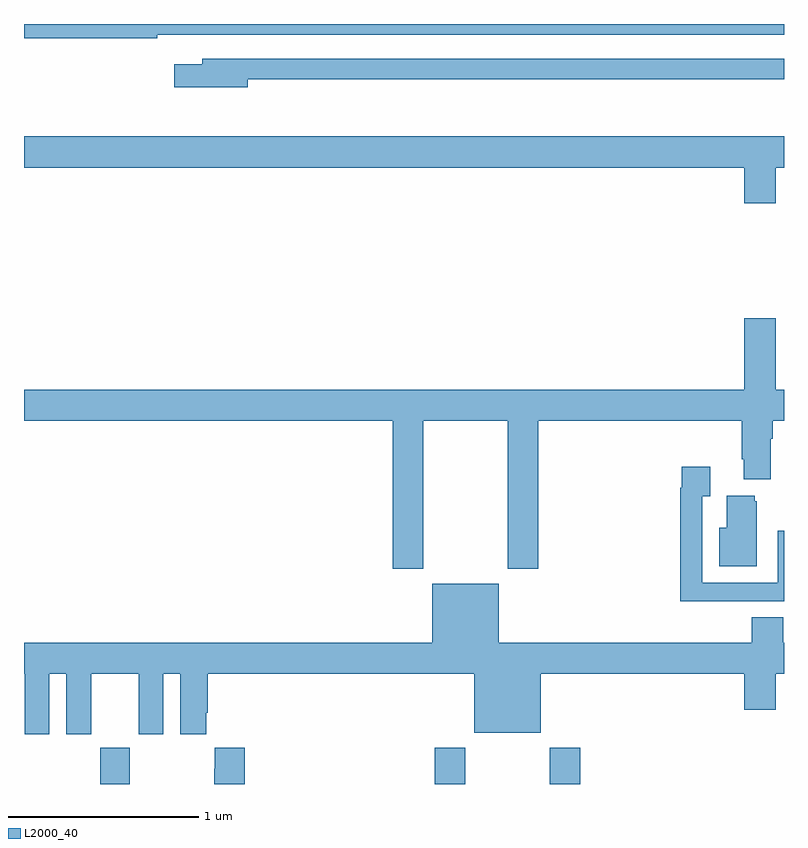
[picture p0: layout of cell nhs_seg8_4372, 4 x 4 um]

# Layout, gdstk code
import gdstk
lib = gdstk.Library(unit=1e-6, precision=1e-09)
def R(c, l, rs):  # rectangles x0, y0, x1, y1
    for r in rs: c.add(gdstk.rectangle(r[:2], r[2:], *l))
def P(c, l, *ps):  # polygons
    for p in ps: c.add(gdstk.Polygon(p, *l))
L2000_40 = (2000, 40)

nhs_seg8_4372 = lib.new_cell('nhs_seg8_4372')
R(nhs_seg8_4372, L2000_40, [(377.401,1135.9,377.556,1136.092), (379.163,1135.9,379.323,1136.092), (379.768,1135.9,379.928,1136.092)])
P(nhs_seg8_4372, L2000_40, [(377.702,1139.844),(381,1139.844),(381,1139.9),(377,1139.9),(377,1139.824),(377.702,1139.824)],
  [(378.178,1139.61),(381,1139.61),(381,1139.718),(377.939,1139.718),(377.939,1139.689),(377.79,1139.689),(377.79,1139.567),(378.178,1139.567)],
  [(380.956,1139.144),(381,1139.144),(381,1139.308),(377,1139.308),(377,1139.144),(380.792,1139.144),(380.792,1138.956),(380.956,1138.956)],
  [(379.101,1137.812),(379.546,1137.812),(379.546,1137.033),(379.706,1137.033),(379.706,1137.812),(380.777,1137.812),(380.777,1137.61),(380.789,1137.61),(380.789,1137.503),(380.929,1137.503),(380.929,1137.716),(380.942,1137.716),(380.942,1137.812),(381,1137.812),(381,1137.976),(380.956,1137.976),(380.956,1138.351),(380.792,1138.351),(380.792,1137.976),(377,1137.976),(377,1137.812),(378.941,1137.812),(378.941,1137.033),(379.101,1137.033)],
  [(380.747,1136.862),(381,1136.862),(381,1137.232),(380.967,1137.232),(380.967,1136.958),(380.571,1136.958),(380.571,1137.415),(380.611,1137.415),(380.611,1137.571),(380.463,1137.571),(380.463,1137.458),(380.455,1137.458),(380.455,1136.861),(380.747,1136.861)],
  [(380.857,1137.387),(380.846,1137.387),(380.846,1137.418),(380.699,1137.418),(380.699,1137.25),(380.66,1137.25),(380.66,1137.047),(380.857,1137.047)],
  [(377.134,1136.48),(377.222,1136.48),(377.222,1136.163),(377.353,1136.163),(377.353,1136.48),(377.603,1136.48),(377.603,1136.163),(377.734,1136.163),(377.734,1136.48),(377.822,1136.48),(377.822,1136.163),(377.959,1136.163),(377.959,1136.275),(377.966,1136.275),(377.966,1136.48),(379.37,1136.48),(379.37,1136.171),(379.72,1136.171),(379.72,1136.48),(380.792,1136.48),(380.792,1136.292),(380.956,1136.292),(380.956,1136.48),(381,1136.48),(381,1136.644),(380.996,1136.644),(380.996,1136.777),(380.831,1136.777),(380.831,1136.644),(379.498,1136.644),(379.498,1136.953),(379.148,1136.953),(379.148,1136.644),(377,1136.644),(377,1136.48),(377.003,1136.48),(377.003,1136.163),(377.134,1136.163)],
  [(378.161,1136.092),(378.005,1136.092),(378.005,1135.979),(378.001,1135.979),(378.001,1135.9),(378.161,1135.9)])

lib.write_gds('nhs_seg8_4372.gds')
